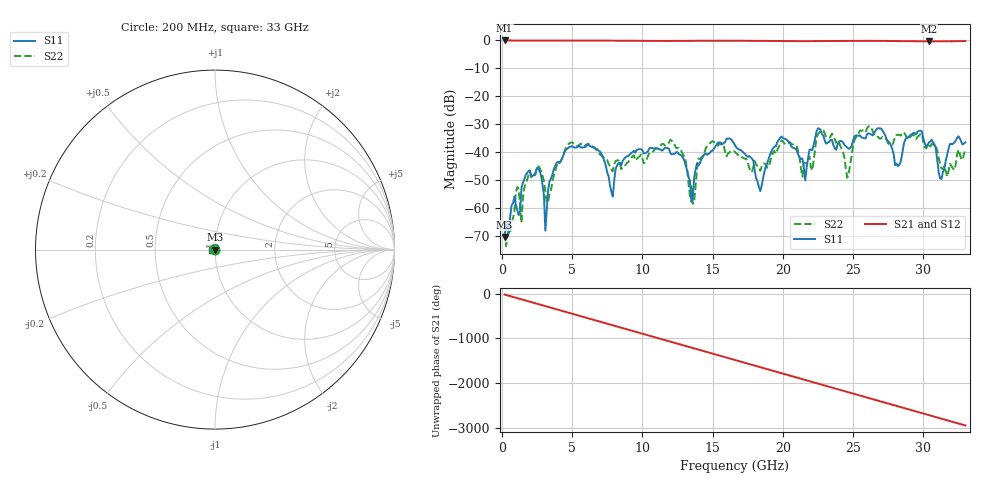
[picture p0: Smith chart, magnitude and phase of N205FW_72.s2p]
# GHZ S RI R 50
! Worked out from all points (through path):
!   329 points, 200 MHz to 33 GHz, reference 50 ohm
!   highest |S21| = -0.02 dB at 200 MHz (marker M1); lowest = -0.4 dB at 30.4 GHz (marker M2)
!   group delay of S21, straight-line fit = 248 ps
!   lowest |S11| = -70.5 dB at 200 MHz (marker M3), VSWR 1.00, Z = 50 + j0.0203 ohm
!   |S11| at or under -10 dB: start of sweep to end of sweep
!   |S22| runs from -73.8 to -30.8 dB; largest |S21 - S12| = 0.0022
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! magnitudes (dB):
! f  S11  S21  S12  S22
! 200 MHz  -70.5  0.0  0.0  -69.1
! 2.5 GHz  -45.8  -0.1  -0.1  -45.5
! 3.1 GHz  -68.3  -0.1  -0.1  -54.1
! 3.7 GHz  -46.2  -0.1  -0.1  -48.5
! 5.7 GHz  -38.5  -0.1  -0.1  -37.1
! 7.9 GHz  -56.0  -0.1  -0.1  -47.0
! 11.2 GHz  -39.0  -0.2  -0.2  -38.0
! 12.8 GHz  -41.3  -0.2  -0.2  -39.9
! 13.6 GHz  -56.0  -0.2  -0.2  -58.6
! 14.6 GHz  -41.0  -0.1  -0.1  -38.0
! 16.6 GHz  -37.6  -0.1  -0.1  -40.0
! 18.4 GHz  -54.1  -0.2  -0.2  -46.8
! 19.9 GHz  -34.5  -0.3  -0.3  -35.9
! 21.6 GHz  -50.2  -0.3  -0.3  -43.9
! 22.1 GHz  -39.4  -0.3  -0.3  -46.6
! 22.7 GHz  -32.2  -0.2  -0.2  -32.6
! 24.6 GHz  -38.4  -0.1  -0.1  -49.2
! 25.5 GHz  -34.0  -0.1  -0.1  -32.3
! 27.6 GHz  -36.7  -0.2  -0.2  -37.4
! 30.4 GHz  -36.6  -0.4  -0.4  -37.0
! 31.3 GHz  -49.7  -0.3  -0.3  -45.9
! 33 GHz  -36.6  -0.2  -0.2  -39.4
